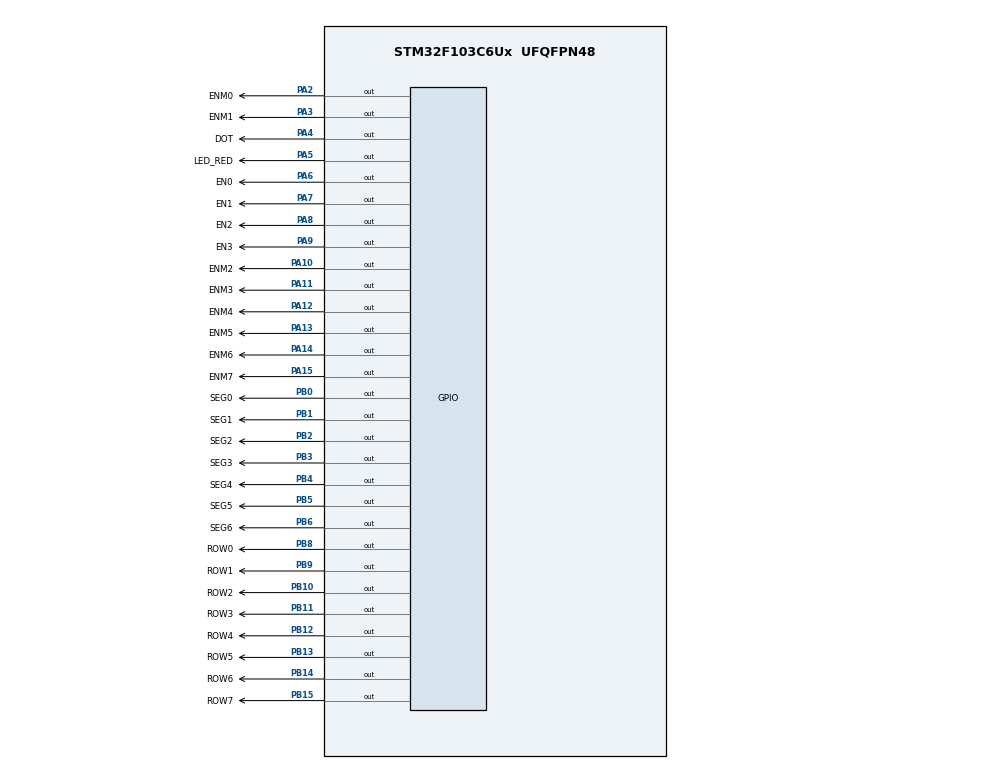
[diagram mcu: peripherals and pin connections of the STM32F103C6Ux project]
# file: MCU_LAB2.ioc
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Mcu.Family=STM32F1
Mcu.Name=STM32F103C6Ux
Mcu.Package=UFQFPN48
NVIC.PriorityGroup=NVIC_PRIORITYGROUP_4
NVIC.TIM2_IRQn=true\:0\:0\:false\:false\:true\:true\:true
PA10.GPIO_Label=ENM2
PA10.Signal=GPIO_Output
PA11.GPIO_Label=ENM3
PA11.Signal=GPIO_Output
PA12.GPIO_Label=ENM4
PA12.Signal=GPIO_Output
PA13.GPIO_Label=ENM5
PA13.Signal=GPIO_Output
PA14.GPIO_Label=ENM6
PA14.Signal=GPIO_Output
PA15.GPIO_Label=ENM7
PA15.Signal=GPIO_Output
PA2.GPIO_Label=ENM0
PA2.Signal=GPIO_Output
PA3.GPIO_Label=ENM1
PA3.Signal=GPIO_Output
PA4.GPIO_Label=DOT
PA4.Signal=GPIO_Output
PA5.GPIO_Label=LED_RED
PA5.Signal=GPIO_Output
PA6.GPIO_Label=EN0
PA6.Signal=GPIO_Output
PA7.GPIO_Label=EN1
PA7.Signal=GPIO_Output
PA8.GPIO_Label=EN2
PA8.Signal=GPIO_Output
PA9.GPIO_Label=EN3
PA9.GPIO_Speed=GPIO_SPEED_FREQ_MEDIUM
PA9.Signal=GPIO_Output
PB0.GPIO_Label=SEG0
PB0.GPIO_Speed=GPIO_SPEED_FREQ_HIGH
PB0.Signal=GPIO_Output
PB1.GPIO_Label=SEG1
PB1.GPIO_Speed=GPIO_SPEED_FREQ_HIGH
PB1.Signal=GPIO_Output
PB10.GPIO_Label=ROW2
PB10.Signal=GPIO_Output
PB11.GPIO_Label=ROW3
PB11.Signal=GPIO_Output
PB12.GPIO_Label=ROW4
PB12.Signal=GPIO_Output
PB13.GPIO_Label=ROW5
PB13.Signal=GPIO_Output
PB14.GPIO_Label=ROW6
PB14.Signal=GPIO_Output
PB15.GPIO_Label=ROW7
PB15.Signal=GPIO_Output
PB2.GPIO_Label=SEG2
PB2.GPIO_Speed=GPIO_SPEED_FREQ_HIGH
PB2.Signal=GPIO_Output
PB3.GPIO_Label=SEG3
PB3.GPIO_Speed=GPIO_SPEED_FREQ_HIGH
PB3.Signal=GPIO_Output
PB4.GPIO_Label=SEG4
PB4.GPIO_Speed=GPIO_SPEED_FREQ_HIGH
PB4.Signal=GPIO_Output
PB5.GPIO_Label=SEG5
PB5.GPIO_Speed=GPIO_SPEED_FREQ_HIGH
PB5.Signal=GPIO_Output
PB6.GPIO_Label=SEG6
PB6.GPIO_Speed=GPIO_SPEED_FREQ_HIGH
PB6.Signal=GPIO_Output
PB8.GPIO_Label=ROW0
PB8.Signal=GPIO_Output
PB9.GPIO_Label=ROW1
PB9.Signal=GPIO_Output
ProjectManager.HeapSize=0x200
ProjectManager.StackSize=0x400
ProjectManager.TargetToolchain=STM32CubeIDE
RCC.APB1Freq_Value=8000000
RCC.APB2Freq_Value=8000000
TIM2.Period=9
TIM2.Prescaler=7999
VP_SYS_VS_ND.Mode=No_Debug
VP_TIM2_VS_ClockSourceINT.Mode=Internal
board=custom

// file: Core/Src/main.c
/* USER CODE BEGIN Header */
/**
  ******************************************************************************
  * @file           : main.c
  * @brief          : Main program body
  ******************************************************************************
  * @attention
  *
  * <h2><center>&copy; Copyright (c) 2025 STMicroelectronics.
  * All rights reserved.</center></h2>
  *
  * This software component is licensed by ST under BSD 3-Clause license,
  * the "License"; You may not use this file except in compliance with the
  * License. You may obtain a copy of the License at:
  *                        opensource.org/licenses/BSD-3-Clause
  *
  ******************************************************************************
  */
/* USER CODE END Header */
#include "main.h"

/* USER CODE BEGIN Includes */
#include "software_timer.h"
#include "ex1.h"
#include "ex2.h"
#include "ex3_4.h"
#include "ex5_6.h"
#include "ex7_8.h"
#include "ex9.h"
#include "ex10.h"
/* USER CODE END Includes */

/* USER CODE BEGIN PM */

//#define ex1
//#define ex2
//#define ex3_4
//#define ex5_6
//#define ex7_8
//#define ex9
#define ex10

/* USER CODE END PM */

TIM_HandleTypeDef htim2;

void SystemClock_Config(void);
static void MX_GPIO_Init(void);
static void MX_TIM2_Init(void);

int main(void)
{

  /* MCU Configuration--------------------------------------------------------*/

  /* Reset of all peripherals, Initializes the Flash interface and the Systick. */
  HAL_Init();

  /* Configure the system clock */
  SystemClock_Config();

  /* Initialize all configured peripherals */
  MX_GPIO_Init();
  MX_TIM2_Init();
  /* USER CODE BEGIN 2 */
  HAL_TIM_Base_Start_IT(&htim2);
  /* USER CODE END 2 */

  /* Infinite loop */
  /* USER CODE BEGIN WHILE */

  while (1)
  {
	#ifdef ex1
		 ex1_run();
	#endif

	#ifdef ex2
		 ex2_run();
	#endif

	#ifdef ex3_4
		 ex3_4_run();
	#endif

	#ifdef ex5
		 ex5_run();
	#endif

	#ifdef ex6
		 ex6_run();
	#endif

	#ifdef ex7_8
		 ex7_run();
	#endif

	#ifdef ex9
		 ex9_run();
	#endif

	#ifdef ex10
		 ex10_run();
	#endif
    /* USER CODE END WHILE */

  }
}

void SystemClock_Config(void)
{
  RCC_OscInitTypeDef RCC_OscInitStruct = {0};
  RCC_ClkInitTypeDef RCC_ClkInitStruct = {0};

  /** Initializes the RCC Oscillators according to the specified parameters
  * in the RCC_OscInitTypeDef structure.
  */
  RCC_OscInitStruct.OscillatorType = RCC_OSCILLATORTYPE_HSI;
  RCC_OscInitStruct.HSIState = RCC_HSI_ON;
  RCC_OscInitStruct.HSICalibrationValue = RCC_HSICALIBRATION_DEFAULT;
  RCC_OscInitStruct.PLL.PLLState = RCC_PLL_NONE;
  if (HAL_RCC_OscConfig(&RCC_OscInitStruct) != HAL_OK)
  {
    Error_Handler();
  }
  /** Initializes the CPU, AHB and APB buses clocks
  */
  RCC_ClkInitStruct.ClockType = RCC_CLOCKTYPE_HCLK|RCC_CLOCKTYPE_SYSCLK
                              |RCC_CLOCKTYPE_PCLK1|RCC_CLOCKTYPE_PCLK2;
  RCC_ClkInitStruct.SYSCLKSource = RCC_SYSCLKSOURCE_HSI;
  RCC_ClkInitStruct.AHBCLKDivider = RCC_SYSCLK_DIV1;
  RCC_ClkInitStruct.APB1CLKDivider = RCC_HCLK_DIV1;
  RCC_ClkInitStruct.APB2CLKDivider = RCC_HCLK_DIV1;

  if (HAL_RCC_ClockConfig(&RCC_ClkInitStruct, FLASH_LATENCY_0) != HAL_OK)
  {
    Error_Handler();
  }
}

static void MX_TIM2_Init(void)
{

  TIM_ClockConfigTypeDef sClockSourceConfig = {0};
  TIM_MasterConfigTypeDef sMasterConfig = {0};

  htim2.Instance = TIM2;
  htim2.Init.Prescaler = 7999;
  htim2.Init.CounterMode = TIM_COUNTERMODE_UP;
  htim2.Init.Period = 9;
  htim2.Init.ClockDivision = TIM_CLOCKDIVISION_DIV1;
  htim2.Init.AutoReloadPreload = TIM_AUTORELOAD_PRELOAD_DISABLE;
  if (HAL_TIM_Base_Init(&htim2) != HAL_OK)
  {
    Error_Handler();
  }
  sClockSourceConfig.ClockSource = TIM_CLOCKSOURCE_INTERNAL;
  if (HAL_TIM_ConfigClockSource(&htim2, &sClockSourceConfig) != HAL_OK)
  {
    Error_Handler();
  }
  sMasterConfig.MasterOutputTrigger = TIM_TRGO_RESET;
  sMasterConfig.MasterSlaveMode = TIM_MASTERSLAVEMODE_DISABLE;
  if (HAL_TIMEx_MasterConfigSynchronization(&htim2, &sMasterConfig) != HAL_OK)
  {
    Error_Handler();
  }

}

static void MX_GPIO_Init(void)
{
  GPIO_InitTypeDef GPIO_InitStruct = {0};

  /* GPIO Ports Clock Enable */
  __HAL_RCC_GPIOA_CLK_ENABLE();
  __HAL_RCC_GPIOB_CLK_ENABLE();

  /*Configure GPIO pin Output Level */
  HAL_GPIO_WritePin(GPIOA, ENM0_Pin|ENM1_Pin|DOT_Pin|LED_RED_Pin
                          |EN0_Pin|EN1_Pin|EN2_Pin|EN3_Pin
                          |ENM2_Pin|ENM3_Pin|ENM4_Pin|ENM5_Pin
                          |ENM6_Pin|ENM7_Pin, GPIO_PIN_RESET);

  /*Configure GPIO pin Output Level */
  HAL_GPIO_WritePin(GPIOB, SEG0_Pin|SEG1_Pin|SEG2_Pin|ROW2_Pin
                          |ROW3_Pin|ROW4_Pin|ROW5_Pin|ROW6_Pin
                          |ROW7_Pin|SEG3_Pin|SEG4_Pin|SEG5_Pin
                          |SEG6_Pin|ROW0_Pin|ROW1_Pin, GPIO_PIN_RESET);

  /*Configure GPIO pins : ENM0_Pin ENM1_Pin DOT_Pin LED_RED_Pin
                           EN0_Pin EN1_Pin EN2_Pin ENM2_Pin
                           ENM3_Pin ENM4_Pin ENM5_Pin ENM6_Pin
                           ENM7_Pin */
  GPIO_InitStruct.Pin = ENM0_Pin|ENM1_Pin|DOT_Pin|LED_RED_Pin
                          |EN0_Pin|EN1_Pin|EN2_Pin|ENM2_Pin
                          |ENM3_Pin|ENM4_Pin|ENM5_Pin|ENM6_Pin
                          |ENM7_Pin;
  GPIO_InitStruct.Mode = GPIO_MODE_OUTPUT_PP;
  GPIO_InitStruct.Pull = GPIO_NOPULL;
  GPIO_InitStruct.Speed = GPIO_SPEED_FREQ_LOW;
  HAL_GPIO_Init(GPIOA, &GPIO_InitStruct);

  /*Configure GPIO pins : SEG0_Pin SEG1_Pin SEG2_Pin SEG3_Pin
                           SEG4_Pin SEG5_Pin SEG6_Pin */
  GPIO_InitStruct.Pin = SEG0_Pin|SEG1_Pin|SEG2_Pin|SEG3_Pin
                          |SEG4_Pin|SEG5_Pin|SEG6_Pin;
  GPIO_InitStruct.Mode = GPIO_MODE_OUTPUT_PP;
  GPIO_InitStruct.Pull = GPIO_NOPULL;
  GPIO_InitStruct.Speed = GPIO_SPEED_FREQ_HIGH;
  HAL_GPIO_Init(GPIOB, &GPIO_InitStruct);

  /*Configure GPIO pins : ROW2_Pin ROW3_Pin ROW4_Pin ROW5_Pin
                           ROW6_Pin ROW7_Pin ROW0_Pin ROW1_Pin */
  GPIO_InitStruct.Pin = ROW2_Pin|ROW3_Pin|ROW4_Pin|ROW5_Pin
                          |ROW6_Pin|ROW7_Pin|ROW0_Pin|ROW1_Pin;
  GPIO_InitStruct.Mode = GPIO_MODE_OUTPUT_PP;
  GPIO_InitStruct.Pull = GPIO_NOPULL;
  GPIO_InitStruct.Speed = GPIO_SPEED_FREQ_LOW;
  HAL_GPIO_Init(GPIOB, &GPIO_InitStruct);

  /*Configure GPIO pin : EN3_Pin */
  GPIO_InitStruct.Pin = EN3_Pin;
  GPIO_InitStruct.Mode = GPIO_MODE_OUTPUT_PP;
  GPIO_InitStruct.Pull = GPIO_NOPULL;
  GPIO_InitStruct.Speed = GPIO_SPEED_FREQ_MEDIUM;
  HAL_GPIO_Init(EN3_GPIO_Port, &GPIO_InitStruct);

}

/* USER CODE BEGIN 4 */
void HAL_TIM_PeriodElapsedCallback(TIM_HandleTypeDef *htim){
	timerRun();
}
/* USER CODE END 4 */

void Error_Handler(void)
{
  __disable_irq();
  while (1)
  {
  }
}

/************************ (C) COPYRIGHT STMicroelectronics *****END OF FILE****/
